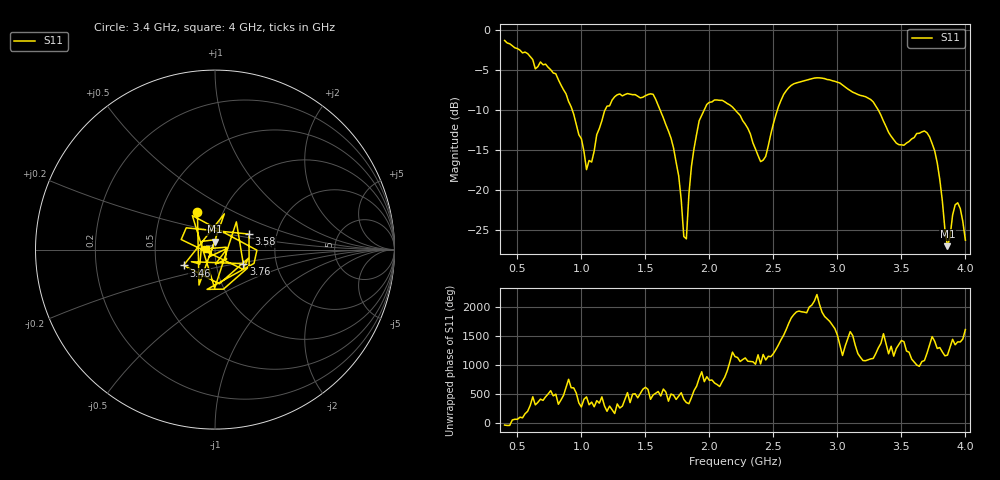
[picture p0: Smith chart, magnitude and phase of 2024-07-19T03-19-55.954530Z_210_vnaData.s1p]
!Created with skrf (http://scikit-rf.org).
# Hz S RI R 50.0
!freq ReS11 ImS11
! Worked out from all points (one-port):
!   181 points, 400 MHz to 4 GHz, reference 50 ohm
!   lowest |S11| = -27.0 dB at 3.86 GHz (marker M1), VSWR 1.09, Z = 49.7 + j4.46 ohm
!   |S11| at or under -10 dB: 1.614 GHz to 1.96 GHz (345.5 MHz wide, 19.3 % of centre); 2.2 GHz to 2.532 GHz (331.7 MHz wide, 14 % of centre); 3.319 GHz to end of sweep (the widest 3 of 4)
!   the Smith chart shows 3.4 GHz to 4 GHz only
!   S11 on the Smith chart (normalised r, x): 3.4 GHz: 0.76, +0.33; 3.46 GHz: 0.69, -0.13; 3.58 GHz: 1.44, +0.26; 3.76 GHz: 1.35, -0.22; 4 GHz: 0.91, +0.01
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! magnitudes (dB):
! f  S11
! 400 MHz  -1.4
! 860 MHz  -7.5
! 1.04 GHz  -17.4
! 1.18 GHz  -10.2
! 1.3 GHz  -8.0
! 1.56 GHz  -8.1
! 1.7 GHz  -13.5
! 1.76 GHz  -18.2
! 1.8 GHz  -25.8
! 1.82 GHz  -26.1
! 1.86 GHz  -17.0
! 1.92 GHz  -11.4
! 2.04 GHz  -8.8
! 2.2 GHz  -10.0
! 2.4 GHz  -16.4
! 2.56 GHz  -8.8
! 2.66 GHz  -6.8
! 3.1 GHz  -7.6
! 3.28 GHz  -9.0
! 3.4 GHz  -12.8
! 3.46 GHz  -14.1
! 3.56 GHz  -13.9
! 3.58 GHz  -13.6
! 3.68 GHz  -12.6
! 3.76 GHz  -15.1
! 3.86 GHz  -27.0
! 3.94 GHz  -21.6
! 4 GHz  -26.2
